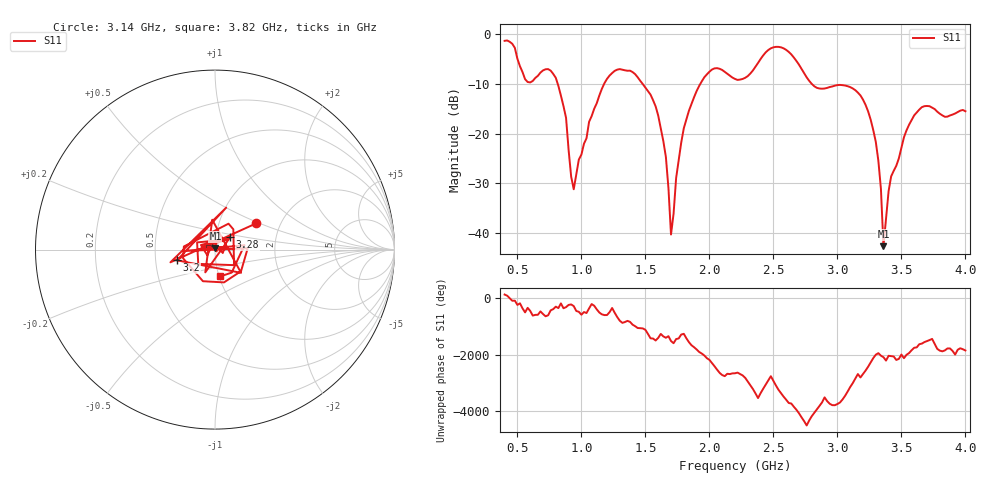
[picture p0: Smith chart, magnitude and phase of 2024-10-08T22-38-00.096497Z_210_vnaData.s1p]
! Created with skrf (http://scikit-rf.org).
# Hz S RI R 50.0
!freq ReS11 ImS11
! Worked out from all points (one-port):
!   181 points, 400 MHz to 4 GHz, reference 50 ohm
!   lowest |S11| = -42.7 dB at 3.36 GHz (marker M1), VSWR 1.01, Z = 50.2 + j0.705 ohm
!   |S11| at or under -10 dB: 815 MHz to 1.178 GHz (362.6 MHz wide, 36.4 % of centre); 1.478 GHz to 1.929 GHz (450.8 MHz wide, 26.5 % of centre); 2.8 GHz to end of sweep
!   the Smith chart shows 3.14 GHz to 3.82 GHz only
!   S11 on the Smith chart (normalised r, x): 3.14 GHz: 1.51, +0.48; 3.2 GHz: 0.65, -0.08; 3.28 GHz: 1.17, +0.16; 3.82 GHz: 1.01, -0.31
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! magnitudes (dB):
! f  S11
! 400 MHz  -1.3
! 580 MHz  -9.6
! 760 MHz  -7.3
! 860 MHz  -14.5
! 940 MHz  -31.2
! 1.06 GHz  -17.6
! 1.3 GHz  -7.0
! 1.58 GHz  -14.5
! 1.66 GHz  -24.7
! 1.7 GHz  -40.3
! 1.76 GHz  -25.3
! 1.84 GHz  -15.4
! 1.96 GHz  -8.7
! 2.2 GHz  -9.0
! 2.5 GHz  -2.6
! 2.66 GHz  -4.7
! 2.84 GHz  -10.8
! 3.1 GHz  -10.6
! 3.14 GHz  -11.3
! 3.2 GHz  -13.2
! 3.28 GHz  -19.3
! 3.34 GHz  -31.1
! 3.36 GHz  -42.7
! 3.42 GHz  -28.6
! 3.56 GHz  -18.2
! 3.68 GHz  -14.5
! 3.82 GHz  -16.3
! 4 GHz  -15.5
